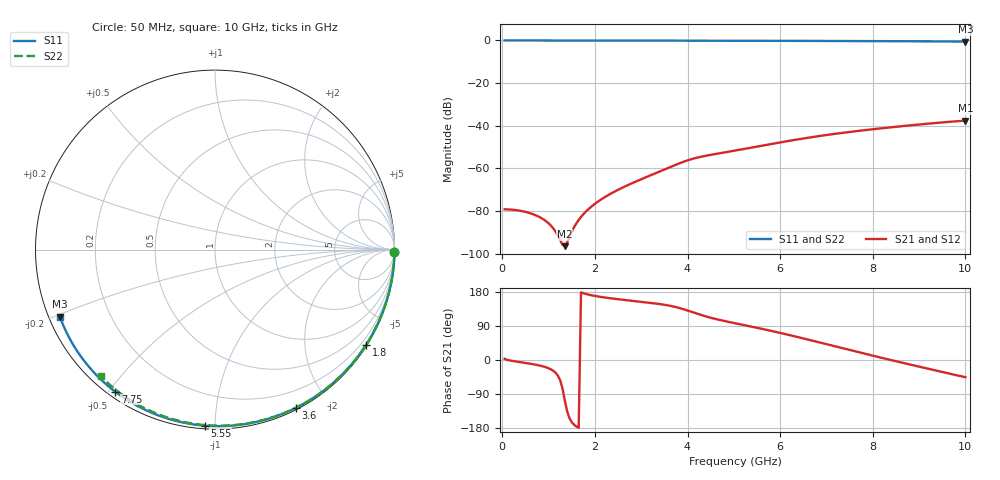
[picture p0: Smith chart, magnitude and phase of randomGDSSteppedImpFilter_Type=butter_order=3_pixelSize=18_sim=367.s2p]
! freq	dB(S11)	phase(S11)	dB(S12)	phase(S12)
!  dB(S21)	phase(S21)	dB(S22)	phase(S22)
!S-par simulation data
#  GHz  S  DB  R 50
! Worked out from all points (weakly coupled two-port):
!   200 points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, 50 MHz to 10 GHz, reference 50 ohm
!   highest |S21| = -37.62 dB at 10 GHz (marker M1); lowest = -96.6 dB at 1.35 GHz (marker M2)
!   lowest |S11| = -0.5 dB at 10 GHz (marker M3), VSWR 33.30, Z = 1.57 - j10.3 ohm
!   |S11| at or under -10 dB: nowhere
!   |S22| runs from -0.4 to 0.0 dB; largest |S21 - S12| = 0
!   S11 on the Smith chart (normalised r, x): 50 MHz: open; 1.8 GHz: 0.03, -3.45; 3.6 GHz: 0.02, -1.64; 5.55 GHz: 0.02, -0.94; 7.75 GHz: 0.02, -0.52; 10 GHz: 0.03, -0.21
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0.05  -0.00 -0.9  -79.25 3.3  -79.25 3.3  -0.00 -0.8
0.4  -0.00 -7.3  -79.99 -5.8  -79.99 -5.8  -0.01 -6.1
0.85  -0.02 -15.4  -83.44 -15.9  -83.44 -15.9  -0.01 -12.9
1.35  -0.03 -24.4  -96.55 -106.8  -96.55 -106.8  -0.03 -20.4
1.75  -0.04 -31.5  -81.57 176.2  -81.57 176.2  -0.03 -26.4
1.8  -0.04 -32.3  -80.43 174.4  -80.43 174.4  -0.03 -27.1
1.85  -0.04 -33.2  -79.39 172.8  -79.39 172.8  -0.04 -27.9
2.1  -0.05 -37.6  -75.12 167.0  -75.12 167.0  -0.04 -31.5
2.4  -0.06 -42.8  -71.22 161.9  -71.22 161.9  -0.05 -35.9
2.8  -0.06 -49.6  -67.02 156.3  -67.02 156.3  -0.05 -41.7
3.4  -0.08 -59.6  -61.48 147.7  -61.48 147.7  -0.07 -50.2
3.6  -0.08 -62.9  -59.65 143.6  -59.65 143.6  -0.07 -53.0
3.9  -0.09 -67.8  -57.04 134.5  -57.04 134.5  -0.08 -57.2
4.15  -0.10 -71.8  -55.31 124.5  -55.31 124.5  -0.08 -60.6
5.05  -0.13 -85.8  -51.59 96.3  -51.59 96.3  -0.11 -72.6
5.55  -0.15 -93.4  -49.60 83.7  -49.60 83.7  -0.13 -79.1
6.1  -0.18 -101.5  -47.45 68.7  -47.45 68.7  -0.15 -86.1
6.7  -0.21 -110.2  -45.33 51.0  -45.33 51.0  -0.18 -93.6
7.75  -0.29 -125.1  -42.29 18.9  -42.29 18.9  -0.24 -106.2
8.35  -0.34 -133.5  -40.85 1.1  -40.85 1.1  -0.29 -113.2
9.2  -0.43 -145.3  -39.04 -23.1  -39.04 -23.1  -0.36 -123.0
10  -0.52 -156.7  -37.62 -45.5  -37.62 -45.5  -0.45 -132.1
